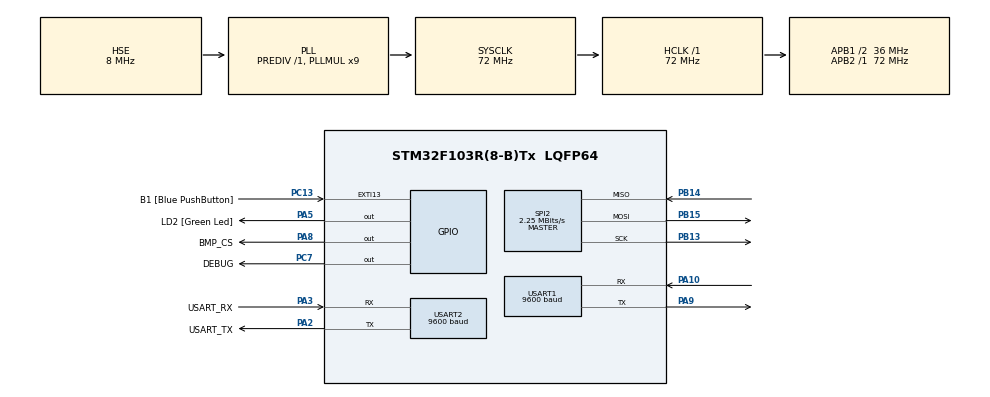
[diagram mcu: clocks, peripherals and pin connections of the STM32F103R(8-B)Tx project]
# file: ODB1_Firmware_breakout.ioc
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Mcu.Family=STM32F1
Mcu.Name=STM32F103R(8-B)Tx
Mcu.Package=LQFP64
NVIC.EXTI15_10_IRQn=true\:0\:0\:false\:false\:true\:true\:true\:true
NVIC.PriorityGroup=NVIC_PRIORITYGROUP_4
NVIC.USART1_IRQn=true\:0\:0\:false\:false\:true\:true\:true\:true
PA10.Mode=Asynchronous
PA10.Signal=USART1_RX
PA13.GPIO_Label=TMS
PA13.Mode=Serial_Wire
PA13.Signal=SYS_JTMS-SWDIO
PA14.GPIO_Label=TCK
PA14.Mode=Serial_Wire
PA14.Signal=SYS_JTCK-SWCLK
PA2.GPIO_Label=USART_TX
PA2.GPIO_Mode=GPIO_MODE_AF_PP
PA2.GPIO_PuPd=GPIO_NOPULL
PA2.GPIO_Speed=GPIO_SPEED_FREQ_LOW
PA2.Mode=Asynchronous
PA2.Signal=USART2_TX
PA3.GPIO_Label=USART_RX
PA3.GPIO_Mode=GPIO_MODE_AF_PP
PA3.GPIO_PuPd=GPIO_NOPULL
PA3.GPIO_Speed=GPIO_SPEED_FREQ_LOW
PA3.Mode=Asynchronous
PA3.Signal=USART2_RX
PA5.GPIO_Label=LD2 [Green Led]
PA5.GPIO_ModeDefaultOutputPP=GPIO_MODE_OUTPUT_PP
PA5.GPIO_PuPd=GPIO_NOPULL
PA5.GPIO_Speed=GPIO_SPEED_FREQ_LOW
PA5.Signal=GPIO_Output
PA8.GPIO_Label=BMP_CS
PA8.PinState=GPIO_PIN_SET
PA8.Signal=GPIO_Output
PA9.Mode=Asynchronous
PA9.Signal=USART1_TX
PB13.Mode=Full_Duplex_Master
PB13.Signal=SPI2_SCK
PB14.Mode=Full_Duplex_Master
PB14.Signal=SPI2_MISO
PB15.Mode=Full_Duplex_Master
PB15.Signal=SPI2_MOSI
PB3.GPIO_Label=SWO
PB3.Signal=SYS_JTDO-TRACESWO
PB8.Signal=I2C1_SCL
PB9.Signal=I2C1_SDA
PC13-TAMPER-RTC.GPIO_Label=B1 [Blue PushButton]
PC13-TAMPER-RTC.GPIO_PuPd=GPIO_NOPULL
PC13-TAMPER-RTC.Signal=GPXTI13
PC14-OSC32_IN.Mode=LSE-External-Oscillator
PC14-OSC32_IN.Signal=RCC_OSC32_IN
PC15-OSC32_OUT.Mode=LSE-External-Oscillator
PC15-OSC32_OUT.Signal=RCC_OSC32_OUT
PC7.GPIO_Label=DEBUG
PC7.Signal=GPIO_Output
PD0-OSC_IN.Mode=HSE-External-Clock-Source
PD0-OSC_IN.Signal=RCC_OSC_IN
PD1-OSC_OUT.Mode=HSE-External-Clock-Source
PD1-OSC_OUT.Signal=RCC_OSC_OUT
ProjectManager.HeapSize=0x200
ProjectManager.StackSize=0x400
ProjectManager.TargetToolchain=STM32CubeIDE
RCC.AHBFreq_Value=72000000
RCC.APB1CLKDivider=RCC_HCLK_DIV2
RCC.APB1Freq_Value=36000000
RCC.APB1TimFreq_Value=72000000
RCC.APB2Freq_Value=72000000
RCC.APB2TimFreq_Value=72000000
RCC.HCLKFreq_Value=72000000
RCC.PLLMUL=RCC_PLL_MUL9
RCC.PLLSourceVirtual=RCC_PLLSOURCE_HSE
RCC.RTCClockSelection=RCC_RTCCLKSOURCE_LSE
RCC.SYSCLKFreq_VALUE=72000000
RCC.SYSCLKSource=RCC_SYSCLKSOURCE_PLLCLK
RCC.USBFreq_Value=72000000
SPI2.BaudRatePrescaler=SPI_BAUDRATEPRESCALER_16
SPI2.CalculateBaudRate=2.25 MBits/s
SPI2.Direction=SPI_DIRECTION_2LINES
SPI2.Mode=SPI_MODE_MASTER
SPI2.VirtualType=VM_MASTER
USART1.BaudRate=9600
USART1.VirtualMode=VM_ASYNC
USART2.BaudRate=9600
USART2.VirtualMode=VM_ASYNC
board=NUCLEO-F103RB

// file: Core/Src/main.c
/* USER CODE BEGIN Header */
/**
  ******************************************************************************
  * @file           : main.c
  * @brief          : Main program body
  ******************************************************************************
  * @attention
  *
  * Copyright (c) 2024 STMicroelectronics.
  * All rights reserved.
  *
  * This software is licensed under terms that can be found in the LICENSE file
  * in the root directory of this software component.
  * If no LICENSE file comes with this software, it is provided AS-IS.
  *
  ******************************************************************************
  */
/* USER CODE END Header */
#include "main.h"

/* USER CODE BEGIN Includes */
#include "stdio.h"

#include "GAUL_Drivers/BMP280.h"
#include "GAUL_Drivers/Tests/BMP280_tests.h"

#include "GAUL_Drivers/L76LM33.h"
#include "GAUL_Drivers/Tests/L76LM33_tests.h"

//#include "GAUL_Drivers/NMEA.h"

/* USER CODE END Includes */

SPI_HandleTypeDef hspi2;

UART_HandleTypeDef huart1;
UART_HandleTypeDef huart2;

/* USER CODE BEGIN PV */
BMP280 bmp_data;
//GPS_Data gps_data;
L76LM33 L76_data;

/* USER CODE END PV */

void SystemClock_Config(void);
static void MX_GPIO_Init(void);
static void MX_USART2_UART_Init(void);
static void MX_USART1_UART_Init(void);
static void MX_SPI2_Init(void);

int main(void)
{

  /* MCU Configuration--------------------------------------------------------*/

  /* Reset of all peripherals, Initializes the Flash interface and the Systick. */
  HAL_Init();

  /* Configure the system clock */
  SystemClock_Config();

  /* Initialize all configured peripherals */
  MX_GPIO_Init();
  MX_USART2_UART_Init();
  MX_USART1_UART_Init();
  MX_SPI2_Init();
  /* USER CODE BEGIN 2 */

  // SPI Bug Fix
  /* Note page 704/1136 RM0008 Rev 21 :
   * The idle state of SCK must correspond to the polarity selected in the
   * SPI_CR1 register (by pulling up SCK if CPOL=1 or pulling down SCK if CPOL=0).
   */
  uint8_t dummy = 0x00;
  HAL_SPI_Transmit(&hspi2, &dummy, 1, 1000);

  // Barometer
  if (BMP280_Init(&bmp_data, &hspi2) != 0) {
    printf("BMP280 Initialization Error\r\n");
    // TODO: Buzzer or led 10 sec
    return -1; // Error
  }

  // GNSS module
  if (L76LM33_Init(&huart1) != 0) {
    printf("L76LM33 Initialization Error\r\n");
    // TODO: Buzzer or led 10 sec
    return -1; // Error
  }

  /* USER CODE END 2 */

  /* Infinite loop */
  while (1)
  {

    /* USER CODE BEGIN 3 */

    //BMP280_TESTS_LogSTLINK();

    //L76LM33_Read(&gps_data);
    L76LM33_Read(&L76_data);

    //printf("%f %f\r\n", L76_data.latitude, L76_data.longitude);

    HAL_Delay(500);
  }
  /* USER CODE END 3 */
}

void SystemClock_Config(void)
{
  RCC_OscInitTypeDef RCC_OscInitStruct = {0};
  RCC_ClkInitTypeDef RCC_ClkInitStruct = {0};

  /** Initializes the RCC Oscillators according to the specified parameters
  * in the RCC_OscInitTypeDef structure.
  */
  RCC_OscInitStruct.OscillatorType = RCC_OSCILLATORTYPE_HSE;
  RCC_OscInitStruct.HSEState = RCC_HSE_BYPASS;
  RCC_OscInitStruct.HSEPredivValue = RCC_HSE_PREDIV_DIV1;
  RCC_OscInitStruct.HSIState = RCC_HSI_ON;
  RCC_OscInitStruct.PLL.PLLState = RCC_PLL_ON;
  RCC_OscInitStruct.PLL.PLLSource = RCC_PLLSOURCE_HSE;
  RCC_OscInitStruct.PLL.PLLMUL = RCC_PLL_MUL9;
  if (HAL_RCC_OscConfig(&RCC_OscInitStruct) != HAL_OK)
  {
    Error_Handler();
  }

  /** Initializes the CPU, AHB and APB buses clocks
  */
  RCC_ClkInitStruct.ClockType = RCC_CLOCKTYPE_HCLK|RCC_CLOCKTYPE_SYSCLK
                              |RCC_CLOCKTYPE_PCLK1|RCC_CLOCKTYPE_PCLK2;
  RCC_ClkInitStruct.SYSCLKSource = RCC_SYSCLKSOURCE_PLLCLK;
  RCC_ClkInitStruct.AHBCLKDivider = RCC_SYSCLK_DIV1;
  RCC_ClkInitStruct.APB1CLKDivider = RCC_HCLK_DIV2;
  RCC_ClkInitStruct.APB2CLKDivider = RCC_HCLK_DIV1;

  if (HAL_RCC_ClockConfig(&RCC_ClkInitStruct, FLASH_LATENCY_2) != HAL_OK)
  {
    Error_Handler();
  }
}

static void MX_SPI2_Init(void)
{

  /* SPI2 parameter configuration*/
  hspi2.Instance = SPI2;
  hspi2.Init.Mode = SPI_MODE_MASTER;
  hspi2.Init.Direction = SPI_DIRECTION_2LINES;
  hspi2.Init.DataSize = SPI_DATASIZE_8BIT;
  hspi2.Init.CLKPolarity = SPI_POLARITY_LOW;
  hspi2.Init.CLKPhase = SPI_PHASE_1EDGE;
  hspi2.Init.NSS = SPI_NSS_SOFT;
  hspi2.Init.BaudRatePrescaler = SPI_BAUDRATEPRESCALER_16;
  hspi2.Init.FirstBit = SPI_FIRSTBIT_MSB;
  hspi2.Init.TIMode = SPI_TIMODE_DISABLE;
  hspi2.Init.CRCCalculation = SPI_CRCCALCULATION_DISABLE;
  hspi2.Init.CRCPolynomial = 10;
  if (HAL_SPI_Init(&hspi2) != HAL_OK)
  {
    Error_Handler();
  }

}

static void MX_USART1_UART_Init(void)
{

  huart1.Instance = USART1;
  huart1.Init.BaudRate = 9600;
  huart1.Init.WordLength = UART_WORDLENGTH_8B;
  huart1.Init.StopBits = UART_STOPBITS_1;
  huart1.Init.Parity = UART_PARITY_NONE;
  huart1.Init.Mode = UART_MODE_TX_RX;
  huart1.Init.HwFlowCtl = UART_HWCONTROL_NONE;
  huart1.Init.OverSampling = UART_OVERSAMPLING_16;
  if (HAL_UART_Init(&huart1) != HAL_OK)
  {
    Error_Handler();
  }

}

static void MX_USART2_UART_Init(void)
{

  huart2.Instance = USART2;
  huart2.Init.BaudRate = 9600;
  huart2.Init.WordLength = UART_WORDLENGTH_8B;
  huart2.Init.StopBits = UART_STOPBITS_1;
  huart2.Init.Parity = UART_PARITY_NONE;
  huart2.Init.Mode = UART_MODE_TX_RX;
  huart2.Init.HwFlowCtl = UART_HWCONTROL_NONE;
  huart2.Init.OverSampling = UART_OVERSAMPLING_16;
  if (HAL_UART_Init(&huart2) != HAL_OK)
  {
    Error_Handler();
  }

}

static void MX_GPIO_Init(void)
{
  GPIO_InitTypeDef GPIO_InitStruct = {0};

  /* GPIO Ports Clock Enable */
  __HAL_RCC_GPIOC_CLK_ENABLE();
  __HAL_RCC_GPIOD_CLK_ENABLE();
  __HAL_RCC_GPIOA_CLK_ENABLE();
  __HAL_RCC_GPIOB_CLK_ENABLE();

  /*Configure GPIO pin Output Level */
  HAL_GPIO_WritePin(LD2_GPIO_Port, LD2_Pin, GPIO_PIN_RESET);

  /*Configure GPIO pin Output Level */
  HAL_GPIO_WritePin(DEBUG_GPIO_Port, DEBUG_Pin, GPIO_PIN_RESET);

  /*Configure GPIO pin Output Level */
  HAL_GPIO_WritePin(BMP_CS_GPIO_Port, BMP_CS_Pin, GPIO_PIN_SET);

  /*Configure GPIO pin : B1_Pin */
  GPIO_InitStruct.Pin = B1_Pin;
  GPIO_InitStruct.Mode = GPIO_MODE_IT_RISING;
  GPIO_InitStruct.Pull = GPIO_NOPULL;
  HAL_GPIO_Init(B1_GPIO_Port, &GPIO_InitStruct);

  /*Configure GPIO pins : LD2_Pin BMP_CS_Pin */
  GPIO_InitStruct.Pin = LD2_Pin|BMP_CS_Pin;
  GPIO_InitStruct.Mode = GPIO_MODE_OUTPUT_PP;
  GPIO_InitStruct.Pull = GPIO_NOPULL;
  GPIO_InitStruct.Speed = GPIO_SPEED_FREQ_LOW;
  HAL_GPIO_Init(GPIOA, &GPIO_InitStruct);

  /*Configure GPIO pin : DEBUG_Pin */
  GPIO_InitStruct.Pin = DEBUG_Pin;
  GPIO_InitStruct.Mode = GPIO_MODE_OUTPUT_PP;
  GPIO_InitStruct.Pull = GPIO_NOPULL;
  GPIO_InitStruct.Speed = GPIO_SPEED_FREQ_LOW;
  HAL_GPIO_Init(DEBUG_GPIO_Port, &GPIO_InitStruct);

  /*Configure GPIO pins : PB8 PB9 */
  GPIO_InitStruct.Pin = GPIO_PIN_8|GPIO_PIN_9;
  GPIO_InitStruct.Mode = GPIO_MODE_AF_OD;
  GPIO_InitStruct.Speed = GPIO_SPEED_FREQ_HIGH;
  HAL_GPIO_Init(GPIOB, &GPIO_InitStruct);

  /*Configure peripheral I/O remapping */
  __HAL_AFIO_REMAP_I2C1_ENABLE();

  /* EXTI interrupt init*/
  HAL_NVIC_SetPriority(EXTI15_10_IRQn, 0, 0);
  HAL_NVIC_EnableIRQ(EXTI15_10_IRQn);

}

/* USER CODE BEGIN 4 */
int _write(int file, char *ptr, int len)
{
  (void)file;
  int DataIdx;

  for (DataIdx = 0; DataIdx < len; DataIdx++)
  {
    ITM_SendChar(*ptr++);
  }
  return len;
}

void HAL_UART_RxCpltCallback(UART_HandleTypeDef *huart) {
  L76LM33_RxCallback(huart);
}
/* USER CODE END 4 */

void Error_Handler(void)
{
  __disable_irq();
  while (1)
  {
  }
}
